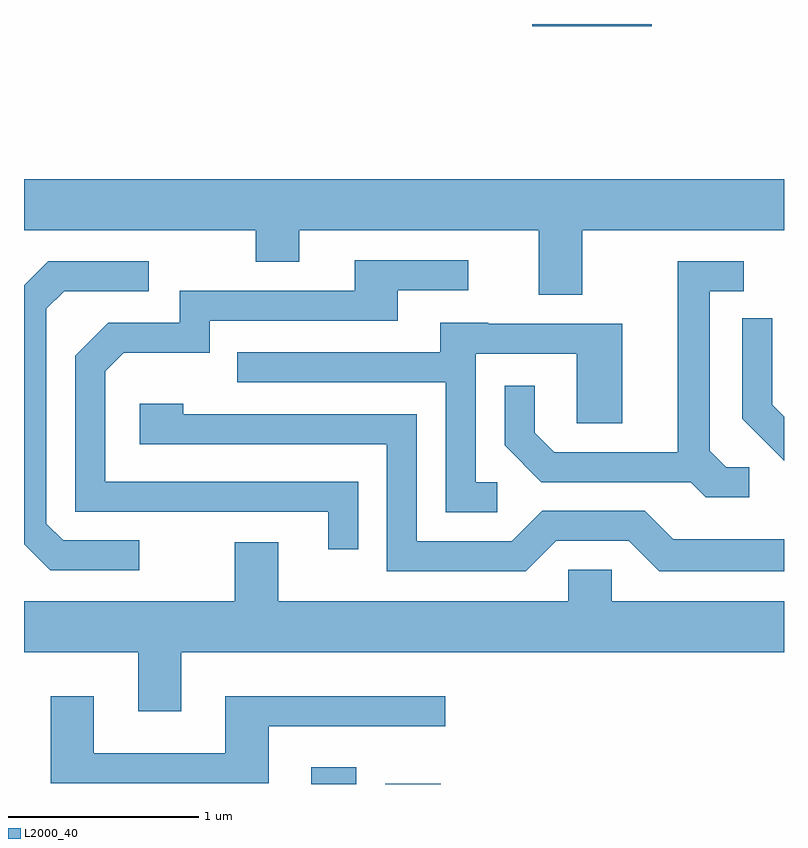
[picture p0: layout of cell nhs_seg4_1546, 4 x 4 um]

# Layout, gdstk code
import gdstk
lib = gdstk.Library(unit=1e-6, precision=1e-09)
def R(c, l, rs):  # rectangles x0, y0, x1, y1
    for r in rs: c.add(gdstk.rectangle(r[:2], r[2:], *l))
def P(c, l, *ps):  # polygons
    for p in ps: c.add(gdstk.Polygon(p, *l))
L2000_40 = (2000, 40)

nhs_seg4_1546 = lib.new_cell('nhs_seg4_1546')
R(nhs_seg4_1546, L2000_40, [(231.123,1353.982,231.359,1354.069), (231.511,1353.982,231.804,1353.984), (232.286,1357.971,232.914,1357.982)])
P(nhs_seg4_1546, L2000_40, [(232.549,1356.896),(233.611,1356.896),(233.611,1357.164),(229.611,1357.164),(229.611,1356.896),(230.831,1356.896),(230.831,1356.731),(231.059,1356.731),(231.059,1356.896),(232.321,1356.896),(232.321,1356.556),(232.549,1356.556)],
  [(231.369,1355.574),(230.039,1355.574),(230.039,1356.154),(230.137,1356.251),(230.589,1356.251),(230.589,1356.421),(231.579,1356.421),(231.579,1356.581),(231.948,1356.581),(231.948,1356.739),(231.351,1356.739),(231.351,1356.579),(230.431,1356.579),(230.431,1356.409),(230.054,1356.409),(229.881,1356.237),(229.881,1355.416),(231.211,1355.416),(231.211,1355.218),(231.369,1355.218)],
  [(230.218,1355.264),(229.817,1355.264),(229.729,1355.352),(229.729,1356.484),(229.822,1356.576),(230.268,1356.576),(230.268,1356.734),(229.739,1356.734),(229.611,1356.607),(229.611,1355.244),(229.749,1355.106),(230.218,1355.106)],
  [(233.428,1355.649),(233.307,1355.649),(233.219,1355.737),(233.219,1356.576),(233.398,1356.576),(233.398,1356.734),(233.051,1356.734),(233.051,1355.729),(232.402,1355.729),(232.299,1355.832),(232.299,1356.078),(232.141,1356.078),(232.141,1355.764),(232.334,1355.571),(233.119,1355.571),(233.199,1355.491),(233.428,1355.491)],
  [(233.611,1355.915),(233.549,1355.977),(233.549,1356.433),(233.391,1356.433),(233.391,1355.904),(233.611,1355.684)],
  [(232.103,1355.569),(231.989,1355.569),(231.989,1356.246),(232.521,1356.246),(232.521,1355.881),(232.759,1355.881),(232.759,1356.404),(232.055,1356.404),(232.055,1356.409),(231.801,1356.409),(231.801,1356.254),(230.733,1356.254),(230.733,1356.096),(231.831,1356.096),(231.831,1355.411),(232.103,1355.411)],
  [(232.412,1355.261),(232.794,1355.261),(232.954,1355.101),(233.611,1355.101),(233.611,1355.269),(233.027,1355.269),(232.877,1355.419),(232.339,1355.419),(232.179,1355.259),(231.679,1355.259),(231.679,1355.929),(230.449,1355.929),(230.449,1355.984),(230.221,1355.984),(230.221,1355.771),(231.521,1355.771),(231.521,1355.101),(232.252,1355.101)],
  [(230.439,1354.676),(233.611,1354.676),(233.611,1354.944),(232.704,1354.944),(232.704,1355.109),(232.476,1355.109),(232.476,1354.944),(230.949,1354.944),(230.949,1355.254),(230.721,1355.254),(230.721,1354.944),(229.611,1354.944),(229.611,1354.676),(230.211,1354.676),(230.211,1354.366),(230.439,1354.366)],
  [(230.899,1354.286),(231.828,1354.286),(231.828,1354.444),(230.671,1354.444),(230.671,1354.144),(229.979,1354.144),(229.979,1354.444),(229.751,1354.444),(229.751,1353.986),(230.899,1353.986)])

lib.write_gds('nhs_seg4_1546.gds')
